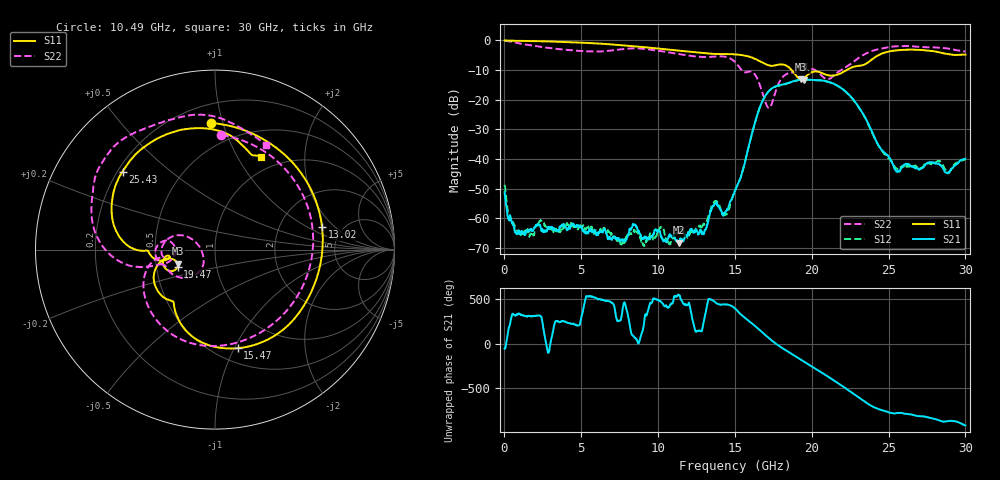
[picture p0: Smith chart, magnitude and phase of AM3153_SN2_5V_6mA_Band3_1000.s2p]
!Agilent Technologies,E8364B,MY43040894,A.07.50.67
!Agilent E8364B: A.07.50.67
!Date: Wednesday, May 13, 2020 06:22:33
!Correction: S11(Full 2 Port(1,2))
!S21(Full 2 Port(1,2))
!S12(Full 2 Port(1,2))
!S22(Full 2 Port(1,2))
!S2P File: Measurements: S11, S21, S12, S22:
# Hz S  dB  R 50
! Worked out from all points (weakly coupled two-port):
!   1601 points, 10 MHz to 30 GHz, reference 50 ohm
!   highest |S21| = -13.19 dB at 19.48 GHz (marker M1); lowest = -68.2 dB at 11.37 GHz (marker M2)
!   lowest |S11| = -13.1 dB at 19.32 GHz (marker M3), VSWR 1.57, Z = 32.5 - j5.34 ohm
!   |S11| at or under -10 dB: 18.7 GHz to 22.27 GHz (3.578 GHz wide, 17.5 % of centre)
!   |S22| runs from -22.8 to -0.1 dB; largest |S21 - S12| = 0.0043
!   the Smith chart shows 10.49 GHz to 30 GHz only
!   S11 on the Smith chart (normalised r, x): 10.49 GHz: 0.32, +0.91; 13.02 GHz: 3.51, +1.42; 15.47 GHz: 0.64, -1.03; 19.47 GHz: 0.64, -0.13; 25.43 GHz: 0.22, +0.35; 30 GHz: 0.82, +1.26
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1e7  -0.03 -2.1  -51.12 -57.1  -48.66 -113.4  -0.10 -4.9
1.190856e9  -0.18 -34.1  -64.53 -45.8  -64.66 -31.4  -1.28 -80.4
2.615381e9  -0.32 -73.1  -64.20 86.8  -62.31 -98.8  -2.38 -157.3
5.014581e9  -0.77 -133.6  -62.86 -56.4  -62.72 -161.4  -3.59 89.8
6.532825e9  -1.21 -169.6  -63.55 122.2  -63.59 131.8  -3.67 -2.5
7.676194e9  -1.64 163.5  -67.04 11.7  -68.09 28.0  -2.95 -92.6
8.725844e9  -2.12 138.2  -64.30 1.0  -65.30 10.6  -2.71 -171.9
1.001916e10  -2.76 104.9  -64.15 125.4  -64.38 -175.9  -3.49 111.4
1.048776e10  -3.01 92.0  -67.52 66.9  -66.50 27.9  -3.88 86.8
1.136871e10  -3.47 66.2  -68.16 178.9  -63.93 136.6  -4.61 42.5
1.301816e10  -4.30 12.0  -64.10 -78.5  -62.10 157.0  -5.61 -42.6
1.5005e10  -4.71 -58.9  -50.71 34.1  -50.64 34.5  -7.26 -156.5
1.547359e10  -4.98 -77.1  -44.48 -46.8  -44.41 -46.9  -10.29 -171.7
1.699184e10  -7.97 -124.3  -18.55 93.2  -18.59 93.1  -20.91 168.2
1.931606e10  -13.08 -159.3  -13.22 176.0  -13.29 176.7  -10.31 -164.3
1.946601e10  -12.78 -155.1  -13.19 159.6  -13.26 160.3  -10.03 -166.3
1.948476e10  -12.72 -154.7  -13.19 157.6  -13.26 158.3  -9.99 -166.6
2.000958e10  -10.72 -157.5  -13.30 101.9  -13.38 102.9  -9.60 -179.7
2.239004e10  -9.65 -170.2  -18.11 -164.7  -18.24 -164.0  -8.47 -165.6
2.501416e10  -3.76 150.7  -39.19 -52.0  -39.92 -51.5  -2.30 151.6
2.542652e10  -3.44 139.9  -43.61 -64.3  -42.78 -56.1  -2.02 143.5
3e10  -4.80 63.6  -39.89 160.5  -40.05 167.2  -3.78 64.0
